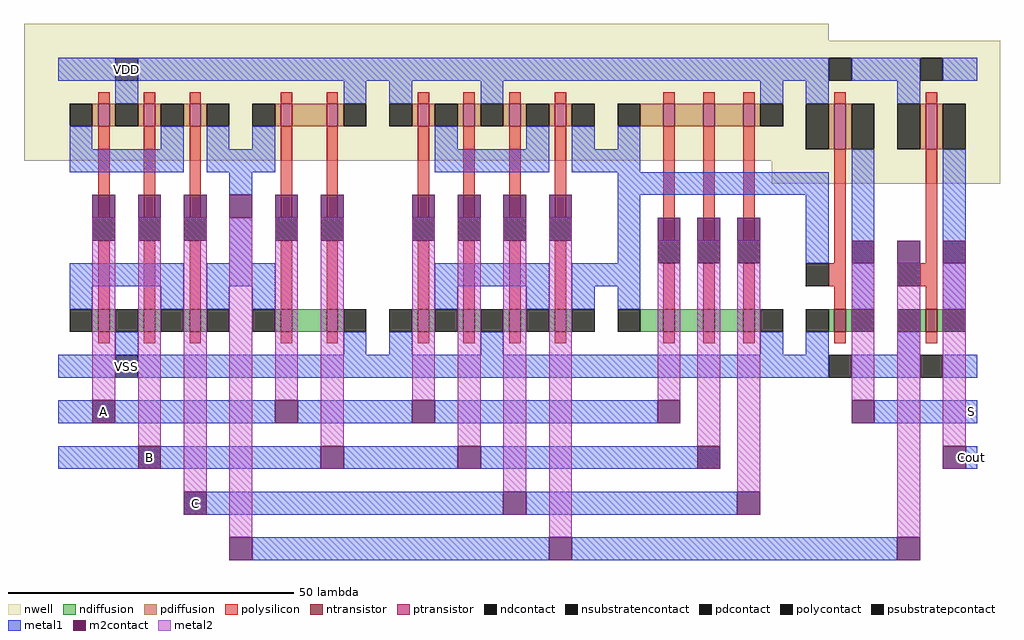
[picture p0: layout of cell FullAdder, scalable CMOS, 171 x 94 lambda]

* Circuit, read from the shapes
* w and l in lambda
.subckt FullAdder A B C Cout S VDD VSS
M1 VSS A n1 VSS nfet w=4 l=2
M2 n1 B VSS VSS nfet w=4 l=2
M3 INV_1/A C n1 VSS nfet w=4 l=2
M4 n2 A INV_1/A VSS nfet w=4 l=2
M5 VSS B n2 VSS nfet w=4 l=2
M6 n3 A VSS VSS nfet w=4 l=2
M7 VSS B n3 VSS nfet w=4 l=2
M8 n3 C VSS VSS nfet w=4 l=2
M9 INV_0/A INV_1/A n3 VSS nfet w=4 l=2
M10 n4 A INV_0/A VSS nfet w=4 l=2
M11 n5 B n4 VSS nfet w=4 l=2
M12 VSS C n5 VSS nfet w=4 l=2
M13 S INV_0/A VSS VSS nfet w=4 l=2
M14 Cout INV_1/A VSS VSS nfet w=4 l=2
M15 VDD A n6 VDD pfet w=4 l=2
M16 n6 B VDD VDD pfet w=4 l=2
M17 INV_1/A C n6 VDD pfet w=4 l=2
M18 n7 A INV_1/A VDD pfet w=4 l=2
M19 VDD B n7 VDD pfet w=4 l=2
M20 n8 A VDD VDD pfet w=4 l=2
M21 VDD B n8 VDD pfet w=4 l=2
M22 n8 C VDD VDD pfet w=4 l=2
M23 INV_0/A INV_1/A n8 VDD pfet w=4 l=2
M24 n9 A INV_0/A VDD pfet w=4 l=2
M25 n10 B n9 VDD pfet w=4 l=2
M26 VDD C n10 VDD pfet w=4 l=2
M27 S INV_0/A VDD VDD pfet w=8 l=2
M28 Cout INV_1/A VDD VDD pfet w=8 l=2
.ends

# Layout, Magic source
magic
tech scmos
<< metal1 >>
rect 0 52 14 56
rect 131 20 135 36
rect 0 0 14 4
rect 0 -8 12 -4
rect 143 -8 161 -4
rect 0 -16 20 -12
rect 112 -16 116 -12
rect 159 -16 161 -12
rect 22 -24 28 -20
rect 131 -32 147 -28
<< m2contact >>
rect 139 20 143 24
rect 147 20 151 24
rect 155 20 159 24
rect 139 -8 143 -4
rect 155 -16 159 -12
rect 147 -32 151 -28
<< metal2 >>
rect 139 -4 143 20
rect 147 -28 151 20
rect 155 -12 159 20
use INV  INV_0
transform 1 0 129 0 1 0
box -4 0 20 59
use INV  INV_1
transform 1 0 145 0 1 0
box -4 0 20 59
use MIRROR_ADDER  MIRROR_ADDER_0
transform 1 0 0 0 1 0
box -6 -32 135 62
<< labels >>
rlabel metal1 12 54 12 54 1 VDD
rlabel metal1 12 2 12 2 1 VSS
rlabel metal1 8 -6 8 -6 1 A
rlabel metal1 16 -14 16 -14 1 B
rlabel metal1 24 -22 24 -22 1 C
rlabel metal1 160 -14 160 -14 7 Cout
rlabel metal1 160 -6 160 -6 7 S
<< end >>

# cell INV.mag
magic
tech scmos
<< nwell >>
rect -4 34 20 59
<< ntransistor >>
rect 7 8 9 12
<< ptransistor >>
rect 7 40 9 48
<< ndiffusion >>
rect 6 8 7 12
rect 9 8 10 12
<< pdiffusion >>
rect 6 40 7 48
rect 9 40 10 48
<< ndcontact >>
rect 2 8 6 12
rect 10 8 14 12
<< pdcontact >>
rect 2 40 6 48
rect 10 40 14 48
<< psubstratepcontact >>
rect 6 0 10 4
<< nsubstratencontact >>
rect 6 52 10 56
<< polysilicon >>
rect 7 48 9 50
rect 7 20 9 40
rect 6 16 9 20
rect 7 12 9 16
rect 7 6 9 8
<< polycontact >>
rect 2 16 6 20
<< metal1 >>
rect 0 52 6 56
rect 10 52 16 56
rect 2 48 6 52
rect 10 12 14 40
rect 2 4 6 8
rect 0 0 6 4
rect 10 0 16 4
<< labels >>
rlabel metal1 4 2 4 2 1 VSS
rlabel polycontact 4 18 4 18 1 A
rlabel metal1 12 18 12 18 1 Y
rlabel metal1 4 54 4 54 1 VDD
<< end >>

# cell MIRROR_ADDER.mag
magic
tech scmos
<< nwell >>
rect -6 38 135 62
<< ntransistor >>
rect 7 8 9 12
rect 15 8 17 12
rect 23 8 25 12
rect 39 8 41 12
rect 47 8 49 12
rect 63 8 65 12
rect 71 8 73 12
rect 79 8 81 12
rect 87 8 89 12
rect 106 8 108 12
rect 113 8 115 12
rect 120 8 122 12
<< ptransistor >>
rect 7 44 9 48
rect 15 44 17 48
rect 23 44 25 48
rect 39 44 41 48
rect 47 44 49 48
rect 63 44 65 48
rect 71 44 73 48
rect 79 44 81 48
rect 87 44 89 48
rect 106 44 108 48
rect 113 44 115 48
rect 120 44 122 48
<< ndiffusion >>
rect 6 8 7 12
rect 9 8 10 12
rect 14 8 15 12
rect 17 8 18 12
rect 22 8 23 12
rect 25 8 26 12
rect 38 8 39 12
rect 41 8 47 12
rect 49 8 50 12
rect 62 8 63 12
rect 65 8 66 12
rect 70 8 71 12
rect 73 8 74 12
rect 78 8 79 12
rect 81 8 82 12
rect 86 8 87 12
rect 89 8 90 12
rect 102 8 106 12
rect 108 8 113 12
rect 115 8 120 12
rect 122 8 123 12
<< pdiffusion >>
rect 6 44 7 48
rect 9 44 10 48
rect 14 44 15 48
rect 17 44 18 48
rect 22 44 23 48
rect 25 44 26 48
rect 38 44 39 48
rect 41 44 47 48
rect 49 44 50 48
rect 62 44 63 48
rect 65 44 66 48
rect 70 44 71 48
rect 73 44 74 48
rect 78 44 79 48
rect 81 44 82 48
rect 86 44 87 48
rect 89 44 90 48
rect 102 44 106 48
rect 108 44 113 48
rect 115 44 120 48
rect 122 44 123 48
<< ndcontact >>
rect 2 8 6 12
rect 10 8 14 12
rect 18 8 22 12
rect 26 8 30 12
rect 34 8 38 12
rect 50 8 54 12
rect 58 8 62 12
rect 66 8 70 12
rect 74 8 78 12
rect 82 8 86 12
rect 90 8 94 12
rect 98 8 102 12
rect 123 8 127 12
<< pdcontact >>
rect 2 44 6 48
rect 10 44 14 48
rect 18 44 22 48
rect 26 44 30 48
rect 34 44 38 48
rect 50 44 54 48
rect 58 44 62 48
rect 66 44 70 48
rect 74 44 78 48
rect 82 44 86 48
rect 90 44 94 48
rect 98 44 102 48
rect 123 44 127 48
<< psubstratepcontact >>
rect 10 0 14 4
<< nsubstratencontact >>
rect 10 52 14 56
<< polysilicon >>
rect 7 48 9 50
rect 15 48 17 50
rect 23 48 25 50
rect 39 48 41 50
rect 47 48 49 50
rect 63 48 65 50
rect 71 48 73 50
rect 79 48 81 50
rect 87 48 89 50
rect 106 48 108 50
rect 113 48 115 50
rect 120 48 122 50
rect 7 28 9 44
rect 15 28 17 44
rect 23 28 25 44
rect 39 28 41 44
rect 47 28 49 44
rect 63 28 65 44
rect 71 28 73 44
rect 79 28 81 44
rect 87 28 89 44
rect 106 24 108 44
rect 113 24 115 44
rect 120 24 122 44
rect 7 12 9 24
rect 15 12 17 24
rect 23 12 25 24
rect 39 12 41 24
rect 47 12 49 24
rect 63 12 65 24
rect 71 12 73 24
rect 79 12 81 24
rect 87 12 89 24
rect 106 12 108 20
rect 113 12 115 20
rect 120 12 122 20
rect 7 6 9 8
rect 15 6 17 8
rect 23 6 25 8
rect 39 6 41 8
rect 47 6 49 8
rect 63 6 65 8
rect 71 6 73 8
rect 79 6 81 8
rect 87 6 89 8
rect 106 6 108 8
rect 113 6 115 8
rect 120 6 122 8
<< polycontact >>
rect 6 24 10 28
rect 14 24 18 28
rect 22 24 26 28
rect 38 24 42 28
rect 46 24 50 28
rect 62 24 66 28
rect 70 24 74 28
rect 78 24 82 28
rect 86 24 90 28
rect 105 20 109 24
rect 112 20 116 24
rect 119 20 123 24
<< metal1 >>
rect 0 52 10 56
rect 14 52 129 56
rect 10 48 14 52
rect 50 48 54 52
rect 2 40 6 44
rect 18 40 22 44
rect 2 36 22 40
rect 26 40 30 44
rect 58 48 62 52
rect 74 48 78 52
rect 123 48 127 52
rect 34 40 38 44
rect 26 36 38 40
rect 66 40 70 44
rect 82 40 86 44
rect 66 36 86 40
rect 90 40 94 44
rect 98 40 102 44
rect 90 36 102 40
rect 30 32 34 36
rect 98 32 131 36
rect 30 20 34 28
rect 98 20 102 32
rect 2 16 22 20
rect 2 12 6 16
rect 18 12 22 16
rect 26 16 38 20
rect 26 12 30 16
rect 34 12 38 16
rect 66 16 86 20
rect 66 12 70 16
rect 82 12 86 16
rect 10 4 14 8
rect 50 4 54 8
rect 90 16 102 20
rect 90 12 94 16
rect 98 12 102 16
rect 58 4 62 8
rect 74 4 78 8
rect 123 4 127 8
rect 0 0 10 4
rect 14 0 129 4
rect 10 -8 38 -4
rect 42 -8 62 -4
rect 66 -8 105 -4
rect 18 -16 46 -12
rect 50 -16 70 -12
rect 74 -16 112 -12
rect 26 -24 78 -20
rect 82 -24 119 -20
rect 34 -32 86 -28
rect 90 -32 131 -28
<< m2contact >>
rect 6 28 10 32
rect 14 28 18 32
rect 22 28 26 32
rect 30 28 34 32
rect 38 28 42 32
rect 46 28 50 32
rect 62 28 66 32
rect 70 28 74 32
rect 78 28 82 32
rect 86 28 90 32
rect 105 24 109 28
rect 112 24 116 28
rect 119 24 123 28
rect 6 -8 10 -4
rect 38 -8 42 -4
rect 62 -8 66 -4
rect 105 -8 109 -4
rect 14 -16 18 -12
rect 46 -16 50 -12
rect 70 -16 74 -12
rect 112 -16 116 -12
rect 22 -24 26 -20
rect 78 -24 82 -20
rect 119 -24 123 -20
rect 30 -32 34 -28
rect 86 -32 90 -28
<< metal2 >>
rect 6 -4 10 28
rect 14 -12 18 28
rect 22 -20 26 28
rect 30 -28 34 28
rect 38 -4 42 28
rect 46 -12 50 28
rect 62 -4 66 28
rect 70 -12 74 28
rect 78 -20 82 28
rect 86 -28 90 28
rect 105 -4 109 24
rect 112 -12 116 24
rect 119 -20 123 24
<< labels >>
rlabel metal1 32 21 32 21 1 Cout`
rlabel nsubstratencontact 12 54 12 54 1 VDD
rlabel metal1 100 26 100 26 1 S`
rlabel psubstratepcontact 12 2 12 2 1 VSS
rlabel m2contact 8 -6 8 -6 1 A
rlabel m2contact 16 -14 16 -14 1 B
rlabel m2contact 24 -22 24 -22 1 C
<< end >>
